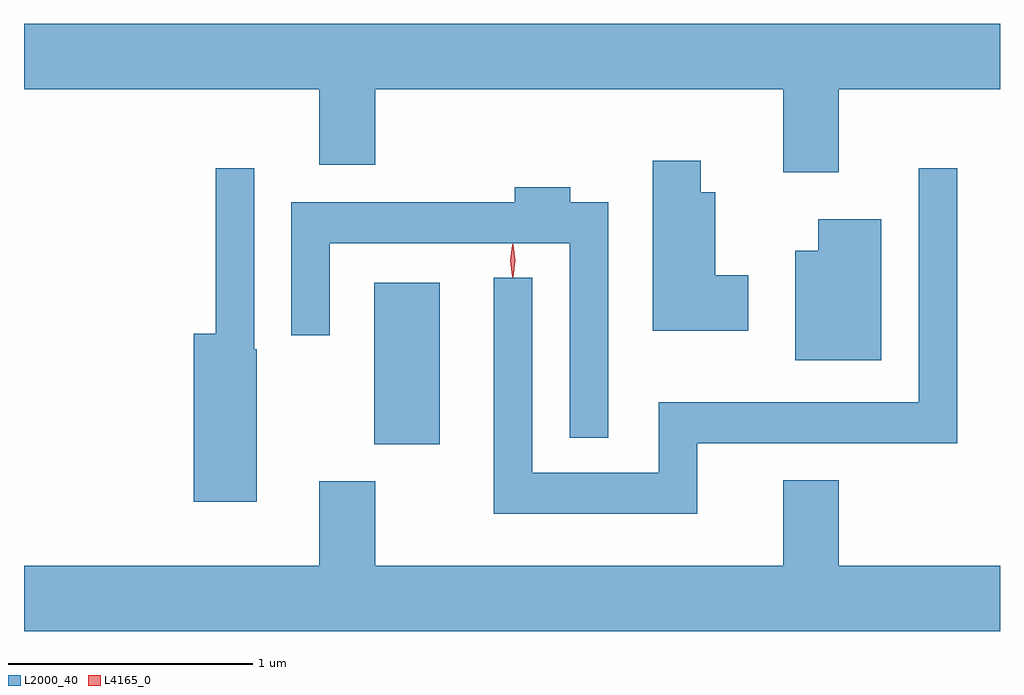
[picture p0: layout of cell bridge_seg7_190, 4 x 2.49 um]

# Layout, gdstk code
import gdstk
lib = gdstk.Library(unit=1e-6, precision=1e-09)
def R(c, l, rs):  # rectangles x0, y0, x1, y1
    for r in rs: c.add(gdstk.rectangle(r[:2], r[2:], *l))
def P(c, l, *ps):  # polygons
    for p in ps: c.add(gdstk.Polygon(p, *l))
L2000_40 = (2000, 40)
L4165_0 = (4165, 0)

bridge_seg7_190 = lib.new_cell('bridge_seg7_190')
R(bridge_seg7_190, L2000_40, [(1495.836,1715.081,1496.104,1715.744)])
P(bridge_seg7_190, L2000_40, [(1497.739,1716.536),(1498.4,1716.536),(1498.4,1716.804),(1494.4,1716.804),(1494.4,1716.536),(1495.611,1716.536),(1495.611,1716.226),(1495.839,1716.226),(1495.839,1716.536),(1497.511,1716.536),(1497.511,1716.196),(1497.739,1716.196)],
  [(1497.369,1715.774),(1497.234,1715.774),(1497.234,1716.114),(1497.174,1716.114),(1497.174,1716.244),(1496.976,1716.244),(1496.976,1715.546),(1497.369,1715.546)],
  [(1497.159,1715.086),(1498.224,1715.086),(1498.224,1716.213),(1498.066,1716.213),(1498.066,1715.254),(1497.001,1715.254),(1497.001,1714.964),(1496.484,1714.964),(1496.484,1715.763),(1496.326,1715.763),(1496.326,1714.796),(1497.159,1714.796)],
  [(1495.354,1715.47),(1495.344,1715.47),(1495.344,1716.213),(1495.186,1716.213),(1495.186,1715.534),(1495.096,1715.534),(1495.096,1714.846),(1495.354,1714.846)],
  [(1496.794,1716.074),(1496.639,1716.074),(1496.639,1716.134),(1496.411,1716.134),(1496.411,1716.074),(1495.496,1716.074),(1495.496,1715.528),(1495.654,1715.528),(1495.654,1715.906),(1496.636,1715.906),(1496.636,1715.108),(1496.794,1715.108)],
  [(1497.914,1716.004),(1497.656,1716.004),(1497.656,1715.874),(1497.561,1715.874),(1497.561,1715.426),(1497.914,1715.426)],
  [(1497.511,1714.934),(1497.511,1714.584),(1495.839,1714.584),(1495.839,1714.929),(1495.611,1714.929),(1495.611,1714.584),(1494.4,1714.584),(1494.4,1714.316),(1498.4,1714.316),(1498.4,1714.584),(1497.739,1714.584),(1497.739,1714.934)])
P(bridge_seg7_190, L4165_0, [(1496.402,1715.767),(1496.393,1715.834),(1496.402,1715.9),(1496.403,1715.9),(1496.404,1715.9),(1496.413,1715.834),(1496.404,1715.767),(1496.403,1715.767)],
  [(1496.404,1715.764),(1496.404,1715.764),(1496.394,1715.833),(1496.404,1715.902),(1496.404,1715.903),(1496.405,1715.902),(1496.414,1715.833),(1496.405,1715.764)])

lib.write_gds('bridge_seg7_190.gds')
